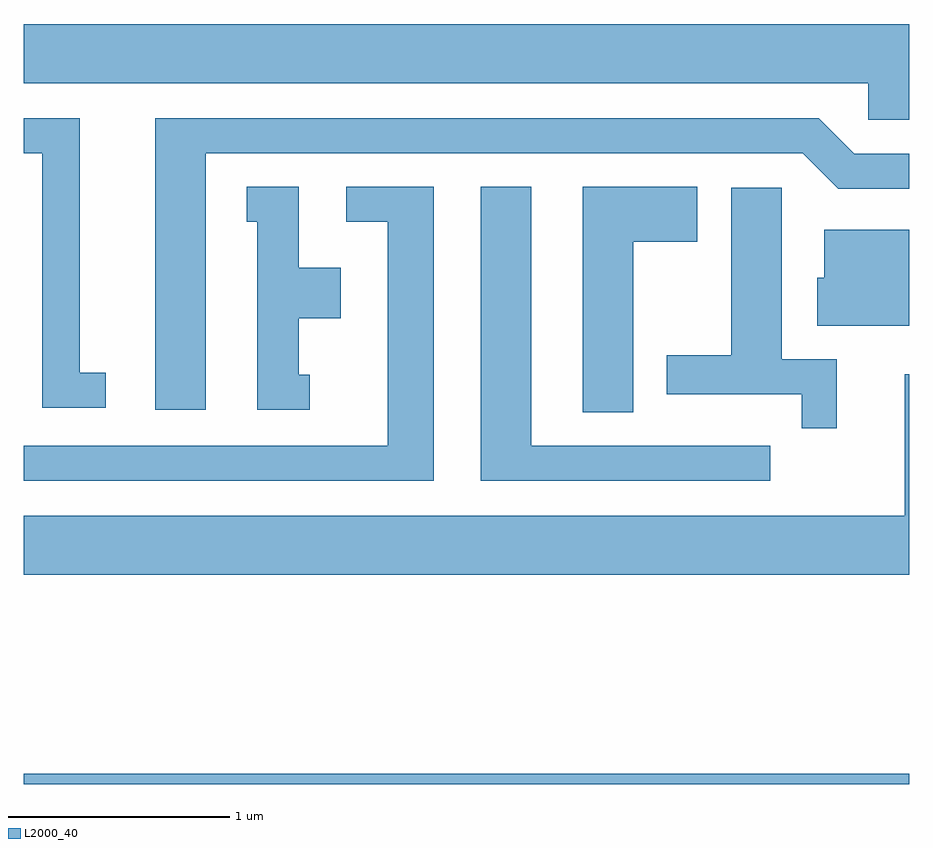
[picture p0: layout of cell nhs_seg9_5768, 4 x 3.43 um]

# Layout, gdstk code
import gdstk
lib = gdstk.Library(unit=1e-6, precision=1e-09)
def R(c, l, rs):  # rectangles x0, y0, x1, y1
    for r in rs: c.add(gdstk.rectangle(r[:2], r[2:], *l))
def P(c, l, *ps):  # polygons
    for p in ps: c.add(gdstk.Polygon(p, *l))
L2000_40 = (2000, 40)

nhs_seg9_5768 = lib.new_cell('nhs_seg9_5768')
R(nhs_seg9_5768, L2000_40, [(355.611,1986.432,359.611,1986.479)])
P(nhs_seg9_5768, L2000_40, [(359.611,1989.864),(355.611,1989.864),(355.611,1989.596),(359.426,1989.596),(359.426,1989.431),(359.611,1989.431)],
  [(356.434,1989.281),(359.129,1989.281),(359.289,1989.121),(359.611,1989.121),(359.611,1989.279),(359.362,1989.279),(359.202,1989.439),(356.206,1989.439),(356.206,1988.121),(356.434,1988.121)],
  [(355.983,1988.289),(355.864,1988.289),(355.864,1989.439),(355.611,1989.439),(355.611,1989.281),(355.696,1989.281),(355.696,1988.131),(355.983,1988.131)],
  [(358.364,1988.881),(358.654,1988.881),(358.654,1989.129),(358.136,1989.129),(358.136,1988.111),(358.364,1988.111)],
  [(356.903,1988.279),(356.854,1988.279),(356.854,1988.536),(357.044,1988.536),(357.044,1988.764),(356.854,1988.764),(356.854,1989.129),(356.618,1989.129),(356.618,1988.971),(356.666,1988.971),(356.666,1988.121),(356.903,1988.121)],
  [(358.983,1987.959),(357.904,1987.959),(357.904,1989.129),(357.676,1989.129),(357.676,1987.801),(358.983,1987.801)],
  [(357.464,1989.129),(357.068,1989.129),(357.068,1988.971),(357.256,1988.971),(357.256,1987.959),(355.611,1987.959),(355.611,1987.801),(357.464,1987.801)],
  [(359.284,1988.349),(359.034,1988.349),(359.034,1989.124),(358.806,1989.124),(358.806,1988.369),(358.516,1988.369),(358.516,1988.191),(359.126,1988.191),(359.126,1988.038),(359.284,1988.038)],
  [(359.611,1988.934),(359.226,1988.934),(359.226,1988.719),(359.196,1988.719),(359.196,1988.501),(359.611,1988.501)],
  [(359.611,1988.283),(359.591,1988.283),(359.591,1987.644),(355.611,1987.644),(355.611,1987.376),(359.611,1987.376)])

lib.write_gds('nhs_seg9_5768.gds')
